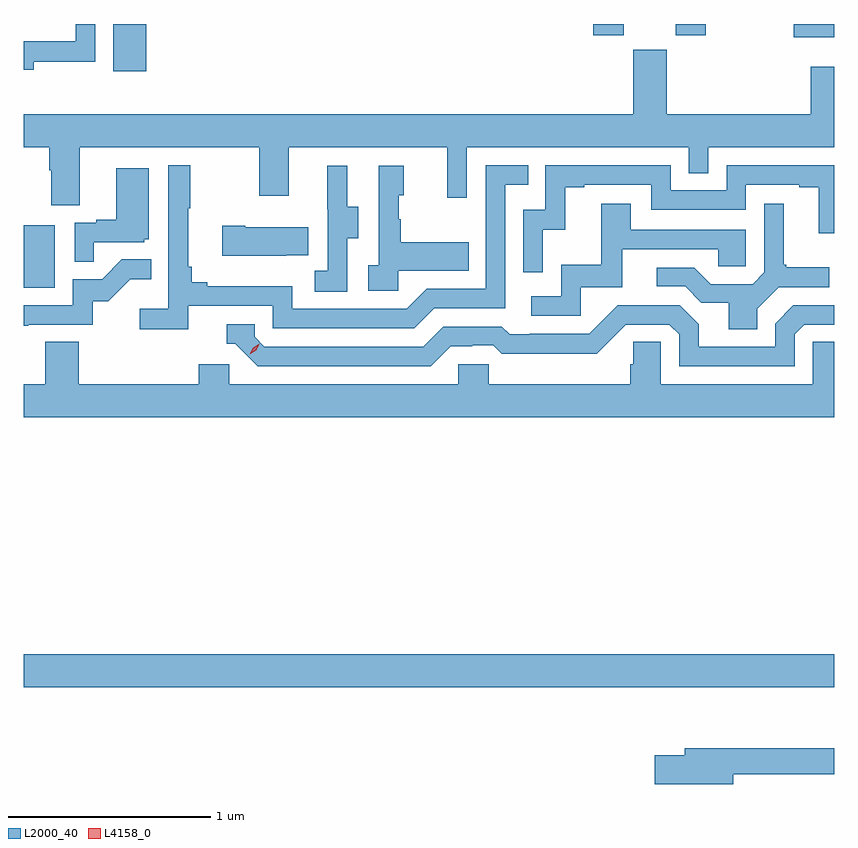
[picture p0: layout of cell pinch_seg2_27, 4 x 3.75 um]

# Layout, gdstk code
import gdstk
lib = gdstk.Library(unit=1e-6, precision=1e-09)
def R(c, l, rs):  # rectangles x0, y0, x1, y1
    for r in rs: c.add(gdstk.rectangle(r[:2], r[2:], *l))
def P(c, l, *ps):  # polygons
    for p in ps: c.add(gdstk.Polygon(p, *l))
L2000_40 = (2000, 40)
L4158_0 = (4158, 0)

pinch_seg2_27 = lib.new_cell('pinch_seg2_27')
R(pinch_seg2_27, L2000_40, [(1102.614,651.632,1106.614,651.796), (1102.614,653.604,1102.768,653.911), (1103.057,654.672,1103.218,654.905), (1106.414,654.839,1106.614,654.905), (1105.424,654.849,1105.576,654.905), (1105.832,654.849,1105.98,654.905)])
P(pinch_seg2_27, L2000_40, [(1102.663,654.718),(1102.968,654.718),(1102.968,654.905),(1102.872,654.905),(1102.872,654.819),(1102.614,654.819),(1102.614,654.68),(1102.663,654.68)],
  [(1102.891,654.296),(1103.776,654.296),(1103.776,654.057),(1103.923,654.057),(1103.923,654.296),(1104.704,654.296),(1104.704,654.048),(1104.801,654.048),(1104.801,654.296),(1105.896,654.296),(1105.896,654.169),(1105.992,654.169),(1105.992,654.296),(1106.614,654.296),(1106.614,654.694),(1106.497,654.694),(1106.497,654.46),(1105.786,654.46),(1105.786,654.777),(1105.622,654.777),(1105.622,654.46),(1102.614,654.46),(1102.614,654.296),(1102.739,654.296),(1102.739,654.184),(1102.751,654.184),(1102.751,654.01),(1102.891,654.01)],
  [(1103.426,653.514),(1103.844,653.514),(1103.844,653.403),(1104.541,653.403),(1104.64,653.502),(1104.99,653.502),(1104.99,654.111),(1105.103,654.111),(1105.103,654.207),(1104.894,654.207),(1104.894,653.598),(1104.603,653.598),(1104.504,653.499),(1103.94,653.499),(1103.94,653.611),(1103.521,653.611),(1103.521,653.63),(1103.444,653.63),(1103.444,653.707),(1103.425,653.707),(1103.425,653.995),(1103.437,653.995),(1103.437,654.208),(1103.328,654.208),(1103.328,653.5),(1103.187,653.5),(1103.187,653.398),(1103.426,653.398)],
  [(1105.176,653.891),(1105.286,653.891),(1105.286,654.099),(1105.381,654.099),(1105.381,654.111),(1105.71,654.111),(1105.71,653.988),(1106.178,653.988),(1106.178,654.111),(1106.441,654.111),(1106.441,654.099),(1106.537,654.099),(1106.537,653.873),(1106.614,653.873),(1106.614,654.207),(1106.082,654.207),(1106.082,654.084),(1105.806,654.084),(1105.806,654.207),(1105.188,654.207),(1105.188,653.988),(1105.08,653.988),(1105.08,653.679),(1105.176,653.679)],
  [(1104.21,653.848),(1104.265,653.848),(1104.265,654.003),(1104.211,654.003),(1104.211,654.205),(1104.113,654.205),(1104.113,653.991),(1104.114,653.991),(1104.114,653.687),(1104.051,653.687),(1104.051,653.584),(1104.21,653.584)],
  [(1104.462,653.687),(1104.809,653.687),(1104.809,653.827),(1104.475,653.827),(1104.475,653.942),(1104.465,653.942),(1104.465,654.06),(1104.49,654.06),(1104.49,654.205),(1104.366,654.205),(1104.366,653.714),(1104.315,653.714),(1104.315,653.589),(1104.462,653.589)],
  [(1102.961,653.829),(1103.208,653.829),(1103.208,653.844),(1103.23,653.844),(1103.23,654.193),(1103.072,654.193),(1103.072,653.938),(1102.973,653.938),(1102.973,653.925),(1102.866,653.925),(1102.866,653.731),(1102.961,653.731)],
  [(1106.233,653.5),(1106.34,653.607),(1106.59,653.607),(1106.59,653.704),(1106.377,653.704),(1106.377,653.716),(1106.365,653.716),(1106.365,654.019),(1106.268,654.019),(1106.268,653.679),(1106.211,653.622),(1106.005,653.622),(1105.924,653.703),(1105.737,653.703),(1105.737,653.61),(1105.878,653.61),(1105.958,653.53),(1106.093,653.53),(1106.093,653.398),(1106.233,653.398)],
  [(1105.362,653.607),(1105.567,653.607),(1105.567,653.793),(1106.041,653.793),(1106.041,653.709),(1106.178,653.709),(1106.178,653.889),(1105.609,653.889),(1105.609,654.019),(1105.465,654.019),(1105.465,653.716),(1105.266,653.716),(1105.266,653.562),(1105.119,653.562),(1105.119,653.466),(1105.362,653.466)],
  [(1103.909,653.765),(1104.017,653.765),(1104.017,653.902),(1103.707,653.902),(1103.707,653.91),(1103.595,653.91),(1103.595,653.762),(1103.909,653.762)],
  [(1102.637,653.421),(1102.956,653.421),(1102.956,653.538),(1103.032,653.538),(1103.139,653.645),(1103.243,653.645),(1103.243,653.744),(1103.099,653.744),(1103.001,653.646),(1102.857,653.646),(1102.857,653.517),(1102.614,653.517),(1102.614,653.416),(1102.637,653.416)],
  [(1104.721,653.316),(1104.828,653.316),(1104.828,653.319),(1104.931,653.319),(1104.973,653.277),(1105.206,653.277),(1105.206,653.279),(1105.442,653.279),(1105.584,653.421),(1105.8,653.421),(1105.848,653.373),(1105.848,653.217),(1106.418,653.217),(1106.418,653.373),(1106.466,653.421),(1106.614,653.421),(1106.614,653.517),(1106.412,653.517),(1106.322,653.427),(1106.322,653.313),(1105.945,653.313),(1105.945,653.423),(1105.851,653.517),(1105.545,653.517),(1105.404,653.376),(1105.111,653.376),(1105.111,653.373),(1105.012,653.373),(1104.973,653.412),(1104.684,653.412),(1104.585,653.313),(1103.802,653.313),(1103.754,653.361),(1103.754,653.424),(1103.615,653.424),(1103.615,653.328),(1103.658,653.328),(1103.769,653.217),(1104.622,653.217)],
  [(1106.614,653.336),(1106.508,653.336),(1106.508,653.128),(1105.758,653.128),(1105.758,653.336),(1105.621,653.336),(1105.621,653.226),(1105.607,653.226),(1105.607,653.128),(1104.909,653.128),(1104.909,653.226),(1104.759,653.226),(1104.759,653.128),(1103.628,653.128),(1103.628,653.226),(1103.477,653.226),(1103.477,653.128),(1102.886,653.128),(1102.886,653.336),(1102.721,653.336),(1102.721,653.128),(1102.614,653.128),(1102.614,652.964),(1106.614,652.964)],
  [(1106.116,651.202),(1106.614,651.202),(1106.614,651.331),(1105.877,651.331),(1105.877,651.297),(1105.728,651.297),(1105.728,651.155),(1106.116,651.155)])
P(pinch_seg2_27, L4158_0, [(1103.73,653.276),(1103.73,653.276),(1103.746,653.308),(1103.777,653.328),(1103.777,653.328),(1103.777,653.327),(1103.761,653.295),(1103.73,653.276)])

lib.write_gds('pinch_seg2_27.gds')
